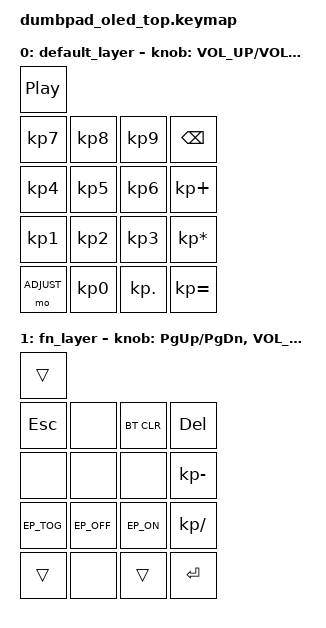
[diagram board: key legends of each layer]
/*
 * Copyright (c) 2022 The ZMK Contributors
 *
 * SPDX-License-Identifier: MIT
 */
 #include <behaviors.dtsi>
 #include <dt-bindings/zmk/keys.h>
 #include <dt-bindings/zmk/bt.h>
 #include <dt-bindings/zmk/ext_power.h>
 #define TIMEOUT 50
 #define DEFAULT 0
 #define ADJUST  1
 &left_encoder {
     status = "okay";
 };
 &right_encoder {
     status = "disabled";
 };
 / {
     chosen {
         zmk,kscan = &kscan0;
         zmk,matrix_transform = &oled_top_transform;
     };
 /*  ---------------
  *  |  0  [-----] |
  *  |  1  2  3  4 |
  *  |  5  6  7  8 |
  *  |  9 10 11 12 |
  *  | 13 14 15 16 |
  *  ---------------
  */
     combos {
         compatible = "zmk,combos";
         combo_bootloader {
             timeout-ms = <TIMEOUT>;
             key-positions = <2 3>;
             bindings = <&bootloader>;
         };
         combo_reset {
             timeout-ms = <TIMEOUT>;
             key-positions = <2 4>;
             bindings = <&sys_reset>;
         };
         combo_bt_nxt {
             timeout-ms = <TIMEOUT>;
             key-positions = <2 5>;
             bindings = <&bt BT_NXT>;
         };
         combo_btclr {
             timeout-ms = <TIMEOUT>;
             key-positions = <2 7>;
             bindings = <&bt BT_CLR>;
         };
     };
     sensors {
         compatible = "zmk,keymap-sensors";
         sensors = <&left_encoder &right_encoder>;
         triggers-per-rotation = <20>;
     };
     keymap0: keymap {
         compatible = "zmk,keymap";
         default_layer {
             bindings = <
                             &kp C_PP
                             &kp KP_N7    &kp KP_N8       &kp KP_N9         &kp BSPC
                             &kp KP_N4    &kp KP_N5       &kp KP_N6         &kp KP_PLUS
                             &kp KP_N1    &kp KP_N2       &kp KP_N3         &kp KP_MULTIPLY
                             &mo ADJUST   &kp KP_N0       &kp KP_DOT        &kp KP_EQUAL
             >;
             sensor-bindings = <&inc_dec_kp C_VOL_UP C_VOL_DN &inc_dec_kp PG_UP PG_DN>;
         };
         fn_layer {
             bindings = <
                             &trans
                             &kp ESC    &none         &bt BT_CLR      &kp DEL
                             &none      &none         &none           &kp KP_MINUS
                             &kp EP_TOG &kp EP_OFF    &kp EP_ON       &kp KP_DIVIDE
                             &trans     &none         &trans          &kp ENTER
             >;
             sensor-bindings = <&inc_dec_kp PG_UP PG_DN &inc_dec_kp C_VOL_UP C_VOL_DN>;
         };
     };
 };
